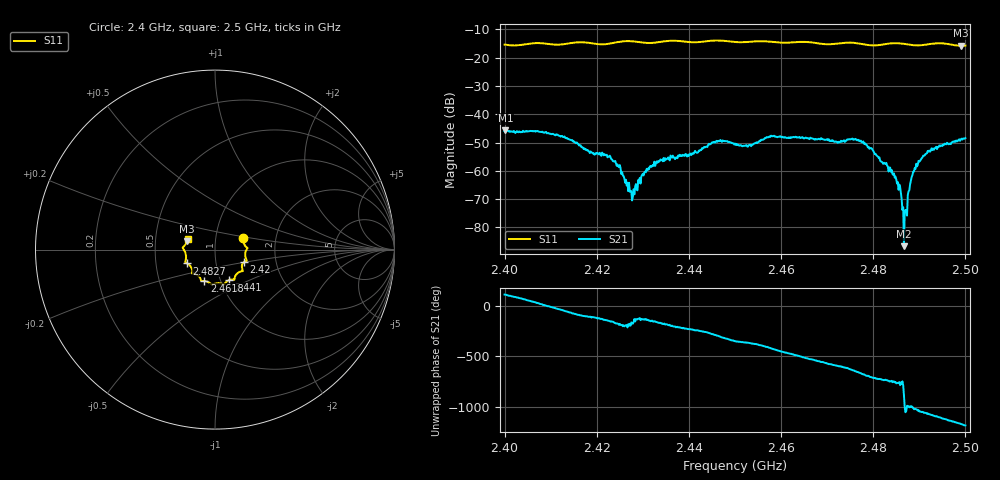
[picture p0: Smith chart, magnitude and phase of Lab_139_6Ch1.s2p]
# Hz S RI R 50
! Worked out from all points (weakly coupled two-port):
!   601 points, 2.4 GHz to 2.5 GHz, reference 50 ohm
!   highest |S21| = -45.61 dB at 2.4002 GHz (marker M1); lowest = -86.6 dB at 2.4867 GHz (marker M2)
!   lowest |S11| = -15.8 dB at 2.499 GHz (marker M3), VSWR 1.39, Z = 36.4 + j3.46 ohm
!   |S11| at or under -10 dB: start of sweep to end of sweep
!   S12 and S22 are empty: the file has one direction only
!   S11 on the Smith chart (normalised r, x): 2.4 GHz: 1.36, +0.18; 2.42 GHz: 1.36, -0.20; 2.441 GHz: 1.10, -0.39; 2.4618 GHz: 0.84, -0.30; 2.4827 GHz: 0.72, -0.12; 2.5 GHz: 0.73, +0.09
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2.4e9  0.1585 0.063  -0.00187 0.00464  0 0  0 0
2.400167e9  0.1582 0.0616  -0.00186 0.0049  0 0  0 0
2.411e9  0.1692 -0.0164  0.00394 -0.00157  0 0  0 0
2.416667e9  0.177 -0.0608  -0.000229 -0.00262  0 0  0 0
2.42e9  0.1598 -0.0701  -0.00103 -0.00175  0 0  0 0
2.4245e9  0.1528 -0.1105  -0.0013 -0.000106  0 0  0 0
2.427667e9  0.1539 -0.1198  -0.000298 -3.38e-05  0 0  0 0
2.433333e9  0.1114 -0.1508  -0.00144 -0.000364  0 0  0 0
2.441e9  0.079 -0.1697  -0.00108 0.00169  0 0  0 0
2.45e9  0.0284 -0.1874  0.00298 0.000602  0 0  0 0
2.461833e9  -0.059 -0.1753  -0.00151 -0.00349  0 0  0 0
2.466667e9  -0.0787 -0.1684  -0.0037 -0.00058  0 0  0 0
2.4765e9  -0.1273 -0.1275  0.00153 0.00311  0 0  0 0
2.482667e9  -0.1559 -0.0774  0.00129 -0.000266  0 0  0 0
2.483333e9  -0.1601 -0.0753  0.0009 -0.000373  0 0  0 0
2.485333e9  -0.1658 -0.0703  0.000463 -0.000431  0 0  0 0
2.486667e9  -0.1642 -0.0627  -4.57e-05 -9.54e-06  0 0  0 0
2.487167e9  -0.163 -0.0584  0.000157 0.000125  0 0  0 0
2.4885e9  -0.1613 -0.0436  0.000251 0.000804  0 0  0 0
2.490333e9  -0.1647 -0.0196  0.00136 0.000802  0 0  0 0
2.499e9  -0.1554 0.0463  -1.12e-05 -0.00359  0 0  0 0
2.5e9  -0.1523 0.0606  -0.000993 -0.00366  0 0  0 0
